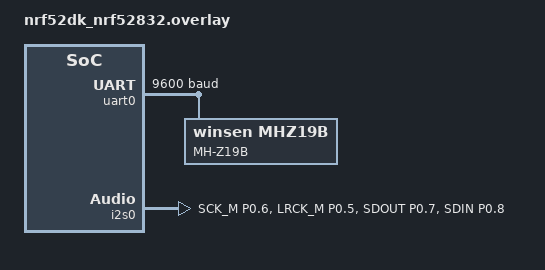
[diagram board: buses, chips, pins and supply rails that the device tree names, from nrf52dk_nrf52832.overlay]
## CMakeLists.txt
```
cmake_minimum_required(VERSION 3.20.0)
find_package(Zephyr REQUIRED HINTS $ENV{ZEPHYR_BASE})

project(Ring_co2_pcb)

target_sources(app PRIVATE src/main.c)
```

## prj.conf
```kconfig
#co2
CONFIG_STDOUT_CONSOLE=y
CONFIG_UART_INTERRUPT_DRIVEN=y
CONFIG_SENSOR=y

CONFIG_MHZ19B=y


#ring light
CONFIG_SPI=n
CONFIG_LOG=n

CONFIG_I2S=y
CONFIG_WS2812_STRIP=y
CONFIG_WS2812_STRIP_I2S=y
CONFIG_LED_STRIP=y
```

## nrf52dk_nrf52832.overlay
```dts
#include <zephyr/dt-bindings/led/led.h>

&pinctrl {
    uart0_default: uart0_default {
        group1 {
            psels = <NRF_PSEL(UART_TX, 0, 24)>, 
                    <NRF_PSEL(UART_RX, 0, 23)>,
                    <NRF_PSEL(UART_RTS, 0, 25)>, 
                    <NRF_PSEL(UART_CTS, 0, 26)>;
        };
    };

    uart0_sleep: uart0_sleep {
        group1 {
            psels = <NRF_PSEL(UART_TX, 0, 24)>,
                    <NRF_PSEL(UART_RX, 0, 23)>,
                    <NRF_PSEL(UART_RTS, 0, 25)>,
                    <NRF_PSEL(UART_CTS, 0, 26)>;
            low-power-enable;
        };
    };
    
    i2s0_default_alt: i2s0_default_alt {
		group1 {
			/* Default I2S config for the nRF52832 node pcb, P0.7 is the output */
			psels = <NRF_PSEL(I2S_SCK_M, 0, 6)>,
				<NRF_PSEL(I2S_LRCK_M, 0, 5)>,
				<NRF_PSEL(I2S_SDOUT, 0, 7)>,       
				<NRF_PSEL(I2S_SDIN, 0, 8)>;
		};
	};
};

&uart0 {
    status = "okay";
    current-speed = <9600>;
    mhz19b: winsen-mhz19b {
        compatible = "winsen,mhz19b";
        maximum-range = <5000>;
        label = "MH-Z19B";
    };
};

i2s_led: &i2s0 {
	status = "okay";
	pinctrl-0 = <&i2s0_default_alt>;
	pinctrl-names = "default";
};

/ {
	led_strip: ws2812 {
		compatible = "worldsemi,ws2812-i2s";

		i2s-dev = <&i2s_led>;
		chain-length = <32>; /* arbitrary; change at will */
		color-mapping = <LED_COLOR_ID_GREEN
					LED_COLOR_ID_RED
					LED_COLOR_ID_BLUE>;
		reset-delay = <500>;
	};

	aliases {
		led-strip = &led_strip;
	};
};
```

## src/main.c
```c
#include <zephyr/kernel.h>
#include <zephyr/device.h>
#include <zephyr/drivers/sensor.h>
#include <zephyr/drivers/sensor/mhz19b.h>
#include <zephyr/drivers/uart.h>

#include <zephyr/kernel.h>
#include <zephyr/drivers/led_strip.h>
#include <zephyr/device.h>
#include <zephyr/dt-bindings/led/led.h>
#include <zephyr/drivers/gpio.h>
#include <zephyr/sys/util.h>

#define DELAY_TIME K_MSEC(1000)

#define STRIP_NODE DT_ALIAS(led_strip)
#define STRIP_NUM_PIXELS DT_PROP(DT_ALIAS(led_strip), chain_length)

#define RGB(_r, _g, _b)                 \
    {                                   \
        .r = (_r), .g = (_g), .b = (_b) \
    }

#define LED_GAP 0

struct led_rgb pixels[STRIP_NUM_PIXELS];

static const struct device *const strip = DEVICE_DT_GET(STRIP_NODE);

static const struct led_rgb colors[] = {
    RGB(0xff, 0x00, 0x00),  /* red */
    RGB(0x00, 0x0ff, 0x00), /* green */
    RGB(0x00, 0x00, 0x0ff), /* blue */
    RGB(0xff, 0xaf, 0x00),  /*yellow*/
    RGB(0xff, 0x00, 0xff),  /*magenta*/
};

size_t cursor = 0, color = 0;
int rc;

bool once = true;

const struct device *const mhz19 = DEVICE_DT_GET_ANY(winsen_mhz19b);

/*GAS function*/
void gas_data()
{

    int ret;
    struct sensor_value val; // Sensor Readout Value

    /*Fetching MHZ19E data*/

    if (!device_is_ready(mhz19)) // Verify that a device is ready for use.
    {
        if (once)
        {
            once = false;
            sys_reboot();
        }
        // printk("sensor: device not found.\n");
        // return 0;
    }

    val.val1 = 5000;
    ret = sensor_attr_set(mhz19, SENSOR_CHAN_CO2, SENSOR_ATTR_FULL_SCALE, &val); // This is likely a function provided by sensor related library or fremework.
                                                                                 // It's being called with four arguments.
    if (ret != 0)
    {
        // printk("failed to set range to %d\n", val.val1);
        // return 0;
    }

    val.val1 = 1;
    ret = sensor_attr_set(mhz19, SENSOR_CHAN_CO2, SENSOR_ATTR_MHZ19B_ABC, &val); // dev – Pointer to the sensor device
                                                                                 // chan – The channel the attribute belongs to, if any. Some attributes may only be set for all channels of a device, depending on device capabilities.
                                                                                 // attr – The attribute to set
                                                                                 // val – The value to set the attribute to

    // if (ret != 0)
    // {
    //     // printk("failed to set ABC to %d\n", val.val1);
    //     // return 0;
    // }

    // printk("Reading configurations from sensor:\n");

    ret = sensor_attr_get(mhz19, SENSOR_CHAN_CO2, SENSOR_ATTR_FULL_SCALE, &val); // Get an attribute for a sensor

    // if (ret != 0)
    // {
    //     // printk("failed to get range\n");
    //     // return 0;
    // }
    // ret = sensor_attr_get(mhz19, SENSOR_CHAN_CO2, SENSOR_ATTR_MHZ19B_ABC, &val);
    data_fetch(val);
}

void data_fetch(struct sensor_value val)
{

    if (sensor_sample_fetch(mhz19) != 0)
    {
        printk("sensor: sample fetch fail.\n");
        return 0;
    }

    if (sensor_channel_get(mhz19, SENSOR_CHAN_CO2, &val) != 0)
    {
        printk("sensor: channel get fail.\n");
        return 0;
    }

    printk("sensor: co2 reading: %d\n", val.val1);
    if (val.val1 >= 4000)
    {
        memset(&pixels, 0x00, sizeof(pixels));
        for (int i = 0; i < 24;)
        {
            memcpy(&pixels[i], &colors[0], sizeof(struct led_rgb));
            i = i + 1 + LED_GAP;
        }
        led_strip_update_rgb(strip, pixels, STRIP_NUM_PIXELS);
    }
    else if (val.val1 >= 3000 && val.val1 < 4000)
    {
        memset(&pixels, 0x00, sizeof(pixels));
        for (int i = 0; i < 24;)
        {
            memcpy(&pixels[i], &colors[2], sizeof(struct led_rgb));
            i = i + 1 + LED_GAP;
        }
        led_strip_update_rgb(strip, pixels, STRIP_NUM_PIXELS);
    }
    else if (val.val1 >= 2000 && val.val1 < 3000)
    {
        memset(&pixels, 0x00, sizeof(pixels));
        for (int i = 0; i < 24;)
        {
            memcpy(&pixels[i], &colors[4], sizeof(struct led_rgb));
            i = i + 1 + LED_GAP;
        }
        led_strip_update_rgb(strip, pixels, STRIP_NUM_PIXELS);
    }
    else if (val.val1 >= 1000 && val.val1 < 2000)
    {
        memset(&pixels, 0x00, sizeof(pixels));
        for (int i = 0; i < 24;)
        {
            memcpy(&pixels[i], &colors[3], sizeof(struct led_rgb));
            i = i + 1 + LED_GAP;
        }
        led_strip_update_rgb(strip, pixels, STRIP_NUM_PIXELS);
    }
    else if (val.val1 >= 400 && val.val1 < 1000)
    {
        memset(&pixels, 0x00, sizeof(pixels));
        for (int i = 0; i < 24;)
        {
            memcpy(&pixels[i], &colors[1], sizeof(struct led_rgb));
            i = i + 1 + LED_GAP;
        }
        led_strip_update_rgb(strip, pixels, STRIP_NUM_PIXELS);
    }
    k_sleep(DELAY_TIME);
    gas_data();
}
int main(void)
{
    gas_data();
}
```
